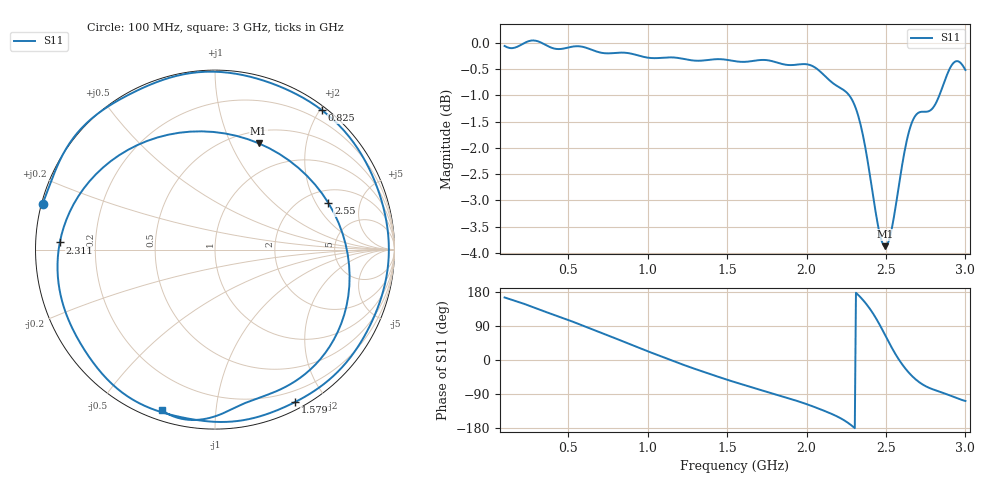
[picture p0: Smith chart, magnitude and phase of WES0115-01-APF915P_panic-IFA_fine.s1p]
! openEMS-z2labs kicad_sim, WES0115-01-APF915P_panic-IFA.kicad_pcb
! ports: 1=SMA5 (F.Cu over B.Cu)
! stackup: file
! copper: sheet, mask: False
# Hz S RI R 50
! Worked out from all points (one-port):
!   401 points, 100 MHz to 3 GHz, reference 50 ohm
!   lowest |S11| = -3.9 dB at 2.493 GHz (marker M1), VSWR 4.56, Z = 31.9 + j64.1 ohm
!   |S11| at or under -10 dB: nowhere
!   S11 on the Smith chart (normalised r, x): 100 MHz: 0.00, +0.13; 825 MHz: 0.05, +2.03; 1.579 GHz: 0.08, -1.65; 2.311 GHz: 0.07, +0.02; 2.55 GHz: 2.63, +2.56; 3 GHz: 0.05, -0.72
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1e8  -0.9595 0.2566
2.595e8  -0.797 0.6116
4.625e8  -0.362 0.9184
6.2925e8  0.0953 0.9829
8.25e8  0.5966 0.776
1.00625e9  0.8964 0.365
1.1875e9  0.9608 -0.1154
1.3615e9  0.811 -0.5184
1.55e9  0.5003 -0.8201
1.579e9  0.4457 -0.8497
1.74575e9  0.1095 -0.9568
1.9125e9  -0.2365 -0.9228
2.014e9  -0.4544 -0.8382
2.10825e9  -0.6422 -0.676
2.2025e9  -0.7942 -0.44
2.275e9  -0.8752 -0.1543
2.31125e9  -0.8647 0.0399
2.362e9  -0.7325 0.339
2.42e9  -0.3774 0.6056
2.45625e9  -0.0726 0.6588
2.4925e9  0.2429 0.5926
2.5505e9  0.6322 0.259
2.594e9  0.7472 -0.088
2.6375e9  0.7036 -0.4113
2.68825e9  0.5306 -0.6687
2.74625e9  0.3178 -0.799
2.90575e9  -0.0681 -0.9453
3e9  -0.2931 -0.8957
